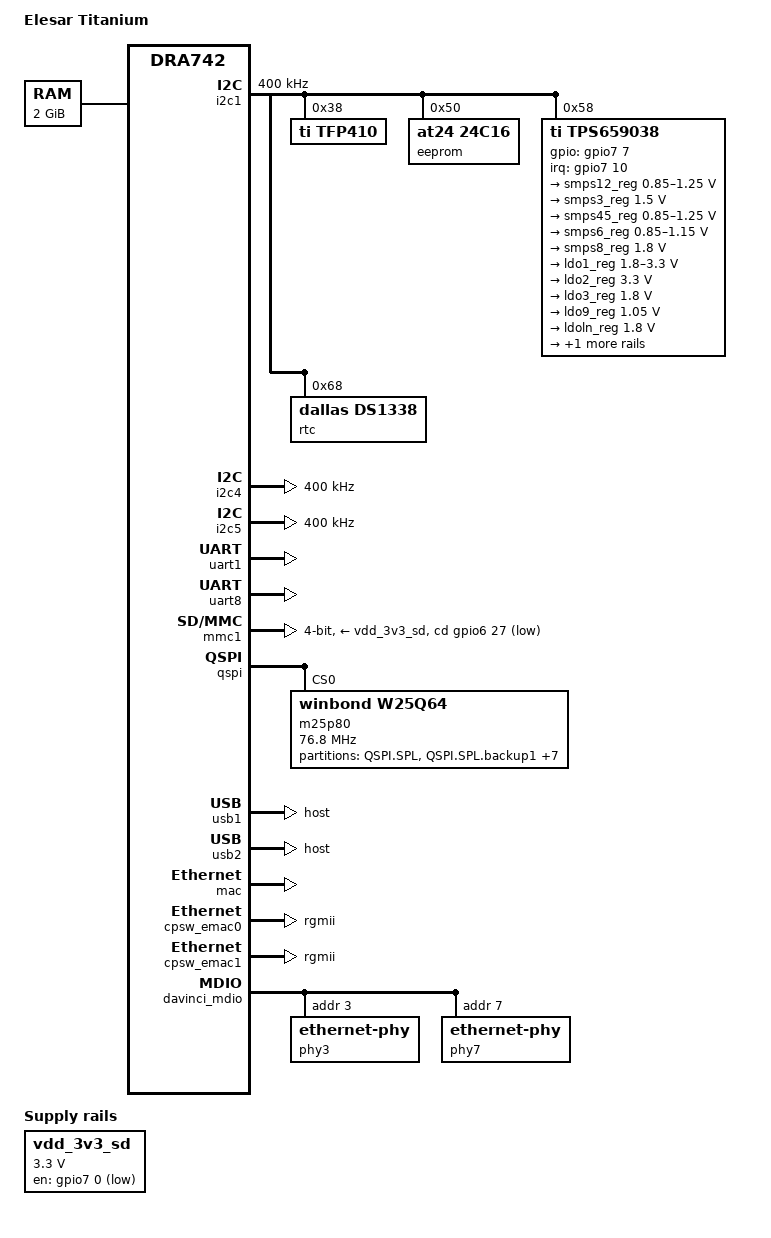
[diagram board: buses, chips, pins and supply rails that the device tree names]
/* SPDX-License-Identifier: GPL-2.0+ */
/*
 * Copyright (C) 2015 Elesar Ltd. - http://www.elesar.co.uk/
 *
 * This program is free software; you can redistribute it and/or modify
 * it under the terms of the GNU General Public License version 2 as
 * published by the Free Software Foundation.
 */
/dts-v1/;

#include "dra74x.dtsi"
#include "am57xx-commercial-grade.dtsi"
#include "dra74x-mmc-iodelay.dtsi"

#include <dt-bindings/gpio/gpio.h>
#include <dt-bindings/interrupt-controller/irq.h>

/ {
	model = "Elesar Titanium";
	compatible = "elesar,titanium", "ti,am5728", "ti,dra742", "ti,dra74", "ti,dra7";

	chosen {
		stdout-path = &uart1;
	};

	memory@0 {
		device_type = "memory";
		reg = <0x0 0x80000000 0x0 0x80000000>; /* 2048 MB */
	};

	vdd_3v3_sd: fixedregulator-sd {
		compatible = "regulator-fixed";
		regulator-name = "vdd_3v3_sd";
		regulator-min-microvolt = <3300000>;
		regulator-max-microvolt = <3300000>;
		gpio = <&gpio7 0 GPIO_ACTIVE_LOW>;
	};
};

&i2c1 {
	status = "okay";
	clock-frequency = <400000>;

	tfp410: encoder@38 {
		compatible = "ti,tfp410";
		reg = <0x38>;
	};

	eeprom@50 {
		compatible = "at24,24c16";
		reg = <0x50>;
		pagesize = <16>;
	};

	tps659038: tps659038@58 {
		compatible = "ti,tps659038", "elesar,softoff";
		reg = <0x58>;
		ti,palmas-override-powerhold;
		ti,system-power-controller;

		/*
		 * The interrupt line is connected to gpio7_10, but interrupts
		 * are not used.
		 */
		interrupt-parent = <&gpio7>;
		interrupts = <10 IRQ_TYPE_NONE>;

		/* Soft power-off line */
		gpios = <&gpio7 7 GPIO_ACTIVE_HIGH>;

		tps659038_pmic {
			compatible = "ti,tps659038-pmic";

			regulators {
				smps12_reg: smps12 {
					/* VDD_MPU */
					regulator-name = "smps12";
					regulator-min-microvolt = < 850000>;
					regulator-max-microvolt = <1250000>;
					regulator-always-on;
					regulator-boot-on;
				};

				smps3_reg: smps3 {
					/* VDD_DDR */
					regulator-name = "smps3";
					regulator-min-microvolt = <1500000>;
					regulator-max-microvolt = <1500000>;
					regulator-always-on;
					regulator-boot-on;
				};

				smps45_reg: smps45 {
					/* VDD_DSPEVE, VDD_GPU, VDD_IVA */
					regulator-name = "smps45";
					regulator-min-microvolt = < 850000>;
					regulator-max-microvolt = <1250000>;
					regulator-always-on;
					regulator-boot-on;
				};

				smps6_reg: smps6 {
					/* VDD_CORE */
					regulator-name = "smps6";
					regulator-min-microvolt = <850000>;
					regulator-max-microvolt = <1150000>;
					regulator-always-on;
					regulator-boot-on;
				};

				/* SMPS7 unused */

				smps8_reg: smps8 {
					/* VDDS1V8 */
					regulator-name = "smps8";
					regulator-min-microvolt = <1800000>;
					regulator-max-microvolt = <1800000>;
					regulator-always-on;
					regulator-boot-on;
				};

				/* SMPS9 unused */

				ldo1_reg: ldo1 {
					/* LDO1_OUT --> SDIO  */
					regulator-name = "ldo1";
					regulator-min-microvolt = <1800000>;
					regulator-max-microvolt = <3300000>;
					regulator-boot-on;
				};

				ldo2_reg: ldo2 {
					/* Unused */
					regulator-name = "ldo2";
					regulator-min-microvolt = <3300000>;
					regulator-max-microvolt = <3300000>;
					regulator-boot-on;
				};

				ldo3_reg: ldo3 {
					/* VDDA_1V8_PHY */
					regulator-name = "ldo3";
					regulator-min-microvolt = <1800000>;
					regulator-max-microvolt = <1800000>;
					regulator-always-on;
					regulator-boot-on;
				};

				ldo9_reg: ldo9 {
					/* Unused */
					regulator-name = "ldo9";
					regulator-min-microvolt = <1050000>;
					regulator-max-microvolt = <1050000>;
					regulator-boot-on;
					regulator-allow-bypass;
				};

				ldoln_reg: ldoln {
					/* VDDA_1V8_PLL */
					regulator-name = "ldoln";
					regulator-min-microvolt = <1800000>;
					regulator-max-microvolt = <1800000>;
					regulator-always-on;
					regulator-boot-on;
				};

				ldousb_reg: ldousb {
					/* VDDA_3V_USB: VDDA_USBHS33 */
					regulator-name = "ldousb";
					regulator-min-microvolt = <3300000>;
					regulator-max-microvolt = <3300000>;
					regulator-boot-on;
				};
			};
		};
	};

	rtc@68 {
		compatible = "dallas,ds1338";
		reg = <0x68>;
	};
};

&i2c4 {
	status = "okay";
	clock-frequency = <400000>;
};

&i2c5 {
	status = "okay";
	clock-frequency = <400000>;
};

&uart1 {
	status = "okay";

	interrupts-extended = <&crossbar_mpu GIC_SPI 67 IRQ_TYPE_LEVEL_HIGH>,
			      <&dra7_pmx_core 0x3e0>;
};

&uart8 {
	status = "okay";
};

&mmc1 {
	status = "okay";

	vmmc-supply = <&vdd_3v3_sd>;
	vqmmc-supply = <&ldo1_reg>;
	bus-width = <4>;
	cd-gpios = <&gpio6 27 GPIO_ACTIVE_LOW>;
	/*
	 * By default only enable Default Speed and High Speed. The other
	 * modes can potentially be used by uncommenting the lines below, but
	 * note that the SD-card activity LED will not operate correctly when
	 * 1.8V signalling is used.
	 */
	pinctrl-names = "default", "hs" /*, "sdr12", "sdr25", "sdr50", "ddr50-rev11", "sdr104-rev11", "ddr50", "sdr104" */;
	pinctrl-0 = <&mmc1_pins_default>;
	pinctrl-1 = <&mmc1_pins_hs>;
	/*
	pinctrl-2 = <&mmc1_pins_sdr12>;
	pinctrl-3 = <&mmc1_pins_sdr25>;
	pinctrl-4 = <&mmc1_pins_sdr50>;
	pinctrl-5 = <&mmc1_pins_ddr50 &mmc1_iodelay_ddr_rev11_conf>;
	pinctrl-6 = <&mmc1_pins_sdr104 &mmc1_iodelay_sdr104_rev11_conf>;
	pinctrl-7 = <&mmc1_pins_ddr50 &mmc1_iodelay_ddr_rev20_conf>;
	pinctrl-8 = <&mmc1_pins_sdr104 &mmc1_iodelay_sdr104_rev20_conf>;
	*/
};

&cpu0 {
	vdd-supply = <&smps12_reg>;
	voltage-tolerance = <1>;
};

&qspi {
	status = "okay";

	spi-max-frequency = <76800000>;
	m25p80@0 {
		compatible = "winbond,w25q64";
		spi-max-frequency = <76800000>;
		reg = <0>;
		spi-tx-bus-width = <1>;
		spi-rx-bus-width = <4>;
		#address-cells = <1>;
		#size-cells = <1>;

		/* MTD partition table.
		 * The ROM checks the first four physical blocks
		 * for a valid file to boot and the flash here is
		 * 64KiB block size.
		 */
		partition@0 {
			label = "QSPI.SPL";
			reg = <0x00000000 0x000010000>;
		};
		partition@1 {
			label = "QSPI.SPL.backup1";
			reg = <0x00010000 0x00010000>;
		};
		partition@2 {
			label = "QSPI.SPL.backup2";
			reg = <0x00020000 0x00010000>;
		};
		partition@3 {
			label = "QSPI.SPL.backup3";
			reg = <0x00030000 0x00010000>;
		};
		partition@4 {
			label = "QSPI.u-boot";
			reg = <0x00040000 0x00100000>;
		};
		partition@5 {
			label = "QSPI.u-boot-spl-os";
			reg = <0x00140000 0x00080000>;
		};
		partition@6 {
			label = "QSPI.u-boot-env";
			reg = <0x001c0000 0x00010000>;
		};
		partition@7 {
			label = "QSPI.u-boot-env.backup1";
			reg = <0x001d0000 0x0010000>;
		};
		partition@8 {
			label = "QSPI.data";
			reg = <0x001e0000 0x0620000>;
		};
	};
};

&usb2_phy1 {
	phy-supply = <&ldousb_reg>;
};

&usb2_phy2 {
	phy-supply = <&ldousb_reg>;
};

&usb1 {
	dr_mode = "host";
};

&usb2 {
	dr_mode = "host";
};

&gpio7 {
	ti,no-reset-on-init;
	ti,no-idle-on-init;
};

&mac {
	status = "okay";
	dual_emac;
};

&cpsw_emac0 {
	phy_id = <&davinci_mdio>, <7>;
	phy-mode = "rgmii";
	dual_emac_res_vlan = <1>;
};

&cpsw_emac1 {
	phy_id = <&davinci_mdio>, <3>;
	phy-mode = "rgmii";
	dual_emac_res_vlan = <2>;
};

&davinci_mdio {
	phy3: ethernet-phy@3 {
		reg = <3>;
	};

	phy7: ethernet-phy@7 {
		reg = <7>;
	};
};

&rtc {
	status = "disabled";
};
